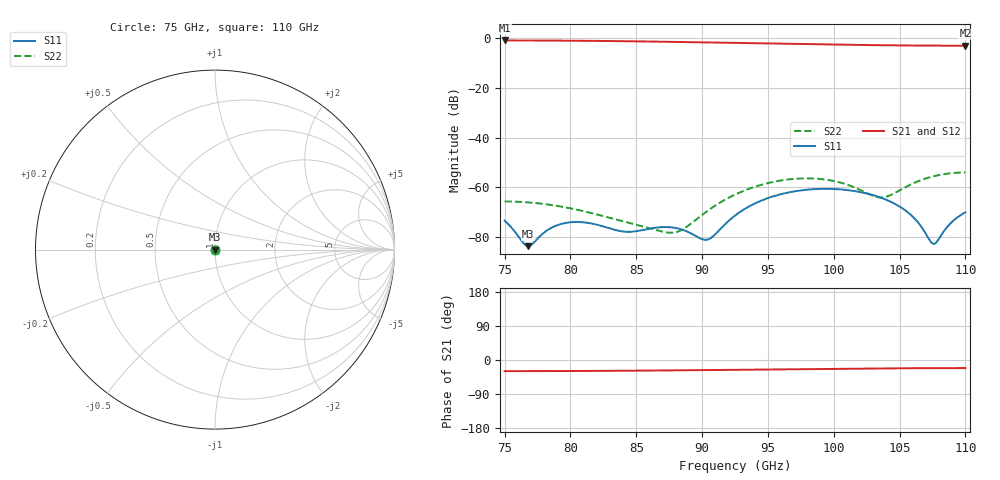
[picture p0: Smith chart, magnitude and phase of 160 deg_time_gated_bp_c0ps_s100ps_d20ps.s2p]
# Hz S RI R 50.000000
! Metas.Vna.Tools, 2.4.7724.19584
! Metas.Vna.Data, 2.4.7724.19560
! Created: UTC 2021.04.29 12:40:11
! FREQ  re:S1,1  im:S1,1  re:S2,1  im:S2,1  re:S1,2  im:S1,2  re:S2,2  im:S2,2
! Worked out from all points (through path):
!   1401 points, 75 GHz to 110 GHz, reference 50 ohm
!   highest |S21| = -0.82 dB at 75 GHz (marker M1); lowest = -2.9 dB at 110 GHz (marker M2)
!   lowest |S11| = -83.7 dB at 76.78 GHz (marker M3), VSWR 1.00, Z = 50 - j0.00356 ohm
!   |S11| at or under -10 dB: start of sweep to end of sweep
!   |S22| runs from -78.3 to -54.0 dB; largest |S21 - S12| = 0.058
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7.5e10  0.00016 0.000141  0.7926 -0.4465  0.7859 -0.4564  -0.000223 -0.000469
7.6075e10  9.58e-05 2.88e-05  0.7923 -0.4461  0.7856 -0.456  -0.000217 -0.000463
7.6775e10  5.47e-05 -3.56e-05  0.7918 -0.4453  0.7851 -0.4553  -0.000208 -0.000453
7.76e10  8.68e-06 -9.81e-05  0.791 -0.444  0.7842 -0.4542  -0.000192 -0.000434
7.93e10  -7.22e-05 -0.000168  0.7882 -0.4397  0.7813 -0.4504  -0.000154 -0.000379
8.085e10  -0.000121 -0.000157  0.7845 -0.4341  0.7774 -0.4455  -0.000122 -0.000315
8.4175e10  -0.000125 2.74e-05  0.7733 -0.4171  0.7654 -0.4309  -9.57e-05 -0.000176
8.6675e10  -4.66e-05 0.000149  0.7622 -0.4004  0.7535 -0.417  -5.55e-05 -0.000122
8.8275e10  1.73e-05 0.000145  0.7542 -0.3885  0.7447 -0.4072  3.49e-05 -0.000127
8.9675e10  6.74e-05 7.28e-05  0.7467 -0.3774  0.7365 -0.3983  0.00018 -0.000157
9.065e10  9.35e-05 -1.45e-05  0.7413 -0.3694  0.7306 -0.392  0.000321 -0.000188
9.25e10  0.000114 -0.000244  0.7307 -0.354  0.7188 -0.3801  0.000664 -0.00026
9.51e10  7.61e-05 -0.000615  0.7157 -0.3323  0.702 -0.3637  0.00119 -0.000326
9.835e10  -2.71e-05 -0.000913  0.6979 -0.3068  0.6817 -0.3452  0.00149 -0.000214
1.01475e11  -7.32e-05 -0.000846  0.6831 -0.2859  0.6646 -0.3306  0.00101 0.000182
1.03225e11  -5.05e-05 -0.000664  0.6763 -0.2764  0.6567 -0.3242  0.000415 0.000493
1.04175e11  -2.58e-05 -0.000534  0.6732 -0.2721  0.6531 -0.3213  4.3e-05 0.000671
1.058e11  2.54e-05 -0.000286  0.6688 -0.266  0.648 -0.3172  -0.000594 0.000956
1.073e11  6.63e-05 -5.31e-05  0.666 -0.2621  0.6447 -0.3146  -0.00109 0.00117
1.0805e11  7.86e-05 5.74e-05  0.665 -0.2608  0.6435 -0.3137  -0.00127 0.00124
1.09025e11  8.19e-05 0.00019  0.6642 -0.2596  0.6426 -0.313  -0.00143 0.00131
1.1e11  6.78e-05 0.000306  0.664 -0.2593  0.6423 -0.3128  -0.00149 0.00133
